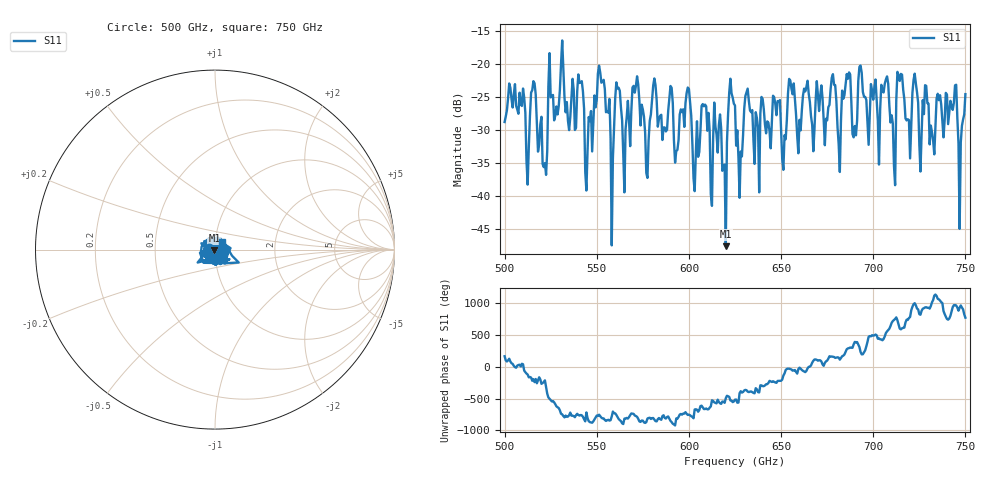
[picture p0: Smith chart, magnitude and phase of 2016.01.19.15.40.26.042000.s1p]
!Created with skrf (http://scikit-rf.org).
# GHz S RI R 50.0
!freq ReS11 ImS11
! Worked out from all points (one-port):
!   401 points, 500 GHz to 750 GHz, reference 50 ohm
!   lowest |S11| = -47.5 dB at 620 GHz (marker M1), VSWR 1.01, Z = 49.7 - j0.293 ohm
!   |S11| at or under -10 dB: start of sweep to end of sweep
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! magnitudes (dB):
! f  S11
! 500 GHz  -28.8
! 512.5 GHz  -38.2
! 515.6 GHz  -22.6
! 521.9 GHz  -35.0
! 525 GHz  -25.1
! 531.2 GHz  -16.5
! 541.2 GHz  -22.8
! 545 GHz  -33.1
! 551.9 GHz  -21.3
! 558.1 GHz  -47.4
! 562.5 GHz  -24.1
! 593.8 GHz  -33.0
! 599.4 GHz  -23.6
! 602.5 GHz  -37.3
! 608.1 GHz  -26.4
! 620 GHz  -47.5
! 622.5 GHz  -22.2
! 625 GHz  -26.3
! 651.2 GHz  -36.0
! 656.2 GHz  -24.6
! 687.5 GHz  -21.6
! 706.9 GHz  -22.3
! 710.6 GHz  -29.0
! 714.4 GHz  -22.6
! 718.8 GHz  -28.4
! 743.8 GHz  -25.9
! 747.5 GHz  -31.9
! 750 GHz  -24.6
